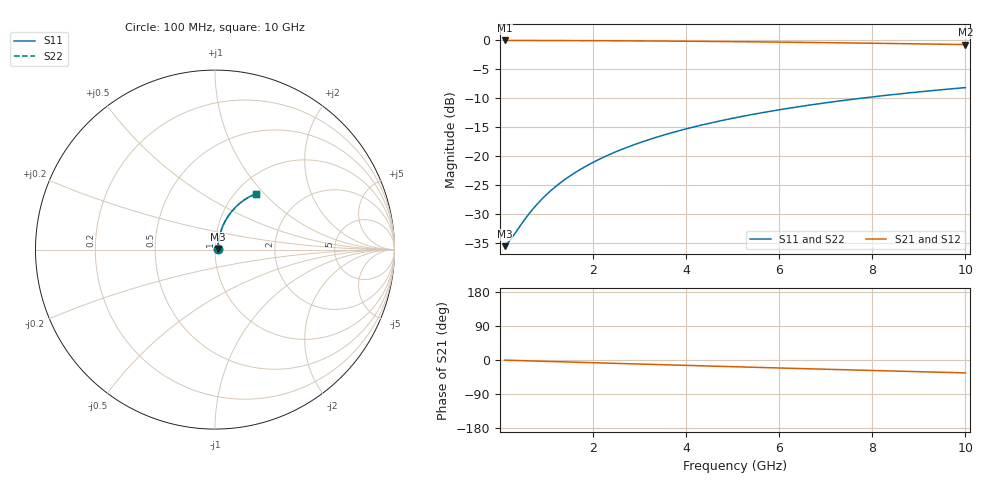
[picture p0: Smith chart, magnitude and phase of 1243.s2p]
# Hz S RI R 50.00
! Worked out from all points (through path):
!   100 points, 100 MHz to 10 GHz, reference 50 ohm
!   highest |S21| = -0.14 dB at 100 MHz (marker M1); lowest = -0.8 dB at 10 GHz (marker M2)
!   group delay of S21, straight-line fit = 9.47 ps
!   lowest |S11| = -35.6 dB at 100 MHz (marker M3), VSWR 1.03, Z = 51.6 + j0.436 ohm
!   |S11| at or under -10 dB: start of sweep to 7.869 GHz
!   |S22| runs from -35.6 to -8.3 dB; largest |S21 - S12| = 0
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1e8  0.016 0.00422  0.984 -0.00615  0.984 -0.00615  0.016 0.00422
2e8  0.0162 0.00843  0.9838 -0.0123  0.9838 -0.0123  0.0162 0.00843
6e8  0.0173 0.0253  0.9826 -0.0369  0.9826 -0.0369  0.0173 0.0253
7e8  0.0177 0.0295  0.9822 -0.043  0.9822 -0.043  0.0177 0.0295
9e8  0.0186 0.0378  0.9812 -0.0552  0.9812 -0.0552  0.0186 0.0378
1.1e9  0.0197 0.0462  0.98 -0.0674  0.98 -0.0674  0.0197 0.0462
1.3e9  0.021 0.0545  0.9786 -0.0796  0.9786 -0.0796  0.021 0.0545
1.5e9  0.0225 0.0627  0.977 -0.0917  0.977 -0.0917  0.0225 0.0627
1.8e9  0.0252 0.075  0.9742 -0.1098  0.9742 -0.1098  0.0252 0.075
2.1e9  0.0283 0.0872  0.9709 -0.1278  0.9709 -0.1278  0.0283 0.0872
2.5e9  0.0331 0.1032  0.9657 -0.1515  0.9657 -0.1515  0.0331 0.1032
2.9e9  0.0386 0.1188  0.9597 -0.1749  0.9597 -0.1749  0.0386 0.1188
3.4e9  0.0466 0.1379  0.9511 -0.2037  0.9511 -0.2037  0.0466 0.1379
3.8e9  0.0538 0.1527  0.9434 -0.2263  0.9434 -0.2263  0.0538 0.1527
4.2e9  0.0616 0.1671  0.9349 -0.2485  0.9349 -0.2485  0.0616 0.1671
4.6e9  0.0701 0.181  0.9258 -0.2701  0.9258 -0.2701  0.0701 0.181
5.1e9  0.0816 0.1977  0.9134 -0.2966  0.9134 -0.2966  0.0816 0.1977
5.9e9  0.1017 0.2225  0.8916 -0.337  0.8916 -0.337  0.1017 0.2225
6.7e9  0.1238 0.2451  0.8676 -0.3752  0.8676 -0.3752  0.1238 0.2451
7.5e9  0.1474 0.2651  0.8417 -0.411  0.8417 -0.411  0.1474 0.2651
8.4e9  0.1756 0.2846  0.8107 -0.4483  0.8107 -0.4483  0.1756 0.2846
1e10  0.2283 0.3112  0.7522 -0.5066  0.7522 -0.5066  0.2283 0.3112
